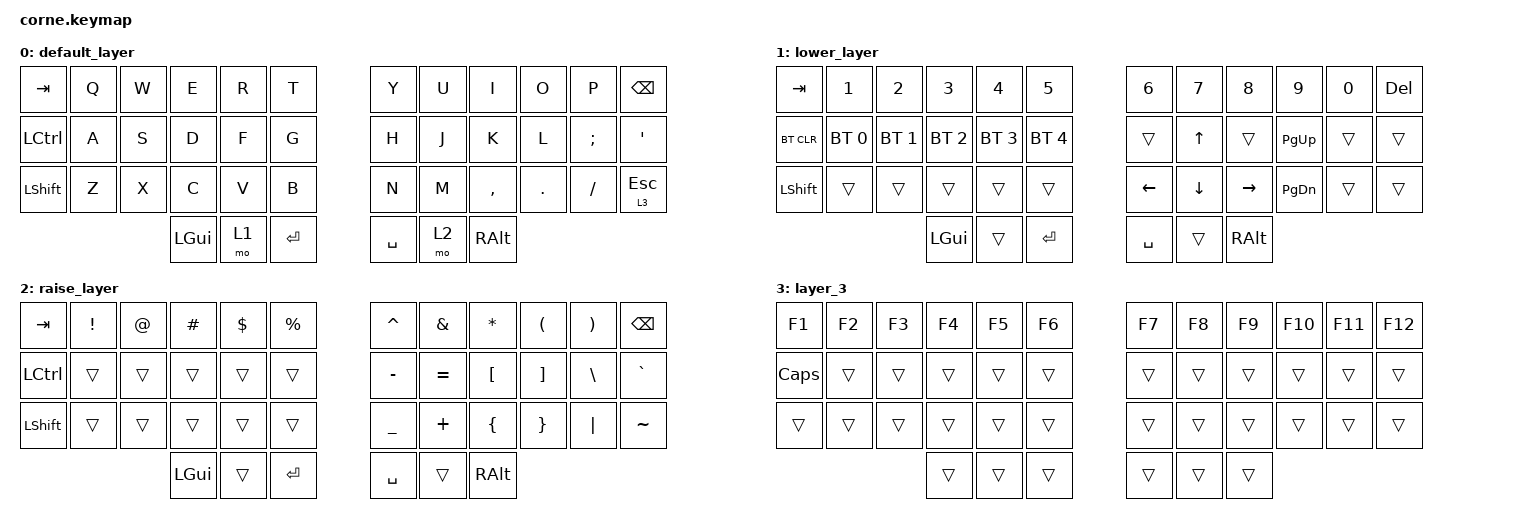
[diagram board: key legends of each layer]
/*
 * Copyright (c) 2020 The ZMK Contributors
 *
 * SPDX-License-Identifier: MIT
 */

#include <behaviors.dtsi>
#include <dt-bindings/zmk/bt.h>
#include <dt-bindings/zmk/keys.h>

&led_strip {
    chain-length = <27>;

    // 21 backlight + 6 glowlight
};

/ {
    keymap {
        compatible = "zmk,keymap";

        default_layer {
            // -----------------------------------------------------------------------------------------
            // |  TAB |  Q  |  W  |  E  |  R  |  T  |   |  Y  |  U   |  I  |  O  |  P  | BKSP |
            // | CTRL |  A  |  S  |  D  |  F  |  G  |   |  H  |  J   |  K  |  L  |  ;  |  '   |
            // | SHFT |  Z  |  X  |  C  |  V  |  B  |   |  N  |  M   |  ,  |  .  |  /  | ESC  |
            //                    | GUI | LWR | SPC |   | ENT | RSE  | ALT |

            bindings = <
&kp TAB         &kp Q  &kp W  &kp E     &kp R  &kp T      &kp Y      &kp U  &kp I      &kp O    &kp P     &kp BSPC
&kp LCTRL       &kp A  &kp S  &kp D     &kp F  &kp G      &kp H      &kp J  &kp K      &kp L    &kp SEMI  &kp SQT
&kp LEFT_SHIFT  &kp Z  &kp X  &kp C     &kp V  &kp B      &kp N      &kp M  &kp COMMA  &kp DOT  &kp FSLH  &lt 3 ESC
                              &kp LGUI  &mo 1  &kp RET    &kp SPACE  &mo 2  &kp RALT
            >;
        };

        lower_layer {
            // -----------------------------------------------------------------------------------------
            // |  TAB |  1  |  2  |  3  |  4  |  5  |   |  6  |  7  |  8  |  9  |  0  | BKSP |
            // | BTCLR| BT1 | BT2 | BT3 | BT4 | BT5 |   | LFT | DWN |  UP | RGT |     |      |
            // | SHFT |     |     |     |     |     |   |     |     |     |     |     |      |
            //                    | GUI |     | SPC |   | ENT |     | ALT |

            bindings = <
&kp TAB     &kp N1        &kp N2        &kp N3        &kp N4        &kp N5          &kp N6     &kp N7        &kp N8     &kp N9         &kp N0  &kp DELETE
&bt BT_CLR  &bt BT_SEL 0  &bt BT_SEL 1  &bt BT_SEL 2  &bt BT_SEL 3  &bt BT_SEL 4    &trans     &kp UP_ARROW  &trans     &kp PAGE_UP    &trans  &trans
&kp LSHFT   &trans        &trans        &trans        &trans        &trans          &kp LEFT   &kp DOWN      &kp RIGHT  &kp PAGE_DOWN  &trans  &trans
                                        &kp LGUI      &trans        &kp RET         &kp SPACE  &trans        &kp RALT
            >;
        };

        raise_layer {
            // -----------------------------------------------------------------------------------------
            // |  TAB |  !  |  @  |  #  |  $  |  %  |   |  ^  |  &  |  *  |  (  |  )  | BKSP |
            // | CTRL |     |     |     |     |     |   |  -  |  =  |  [  |  ]  |  \  |  `   |
            // | SHFT |     |     |     |     |     |   |  _  |  +  |  {  |  }  | "|" |  ~   |
            //                    | GUI |     | SPC |   | ENT |     | ALT |

            bindings = <
&kp TAB    &kp EXCL  &kp AT  &kp HASH  &kp DLLR  &kp PRCNT    &kp CARET  &kp AMPS   &kp ASTRK  &kp LPAR  &kp RPAR  &kp BSPC
&kp LCTRL  &trans    &trans  &trans    &trans    &trans       &kp MINUS  &kp EQUAL  &kp LBKT   &kp RBKT  &kp BSLH  &kp GRAVE
&kp LSHFT  &trans    &trans  &trans    &trans    &trans       &kp UNDER  &kp PLUS   &kp LBRC   &kp RBRC  &kp PIPE  &kp TILDE
                             &kp LGUI  &trans    &kp RET      &kp SPACE  &trans     &kp RALT
            >;
        };

        layer_3 {
            bindings = <
&kp F1    &kp F2  &kp F3  &kp F4  &kp F5  &kp F6    &kp F7  &kp F8  &kp F9  &kp F10  &kp F11  &kp F12
&kp CAPS  &trans  &trans  &trans  &trans  &trans    &trans  &trans  &trans  &trans   &trans   &trans
&trans    &trans  &trans  &trans  &trans  &trans    &trans  &trans  &trans  &trans   &trans   &trans
                          &trans  &trans  &trans    &trans  &trans  &trans
            >;
        };
    };
};
